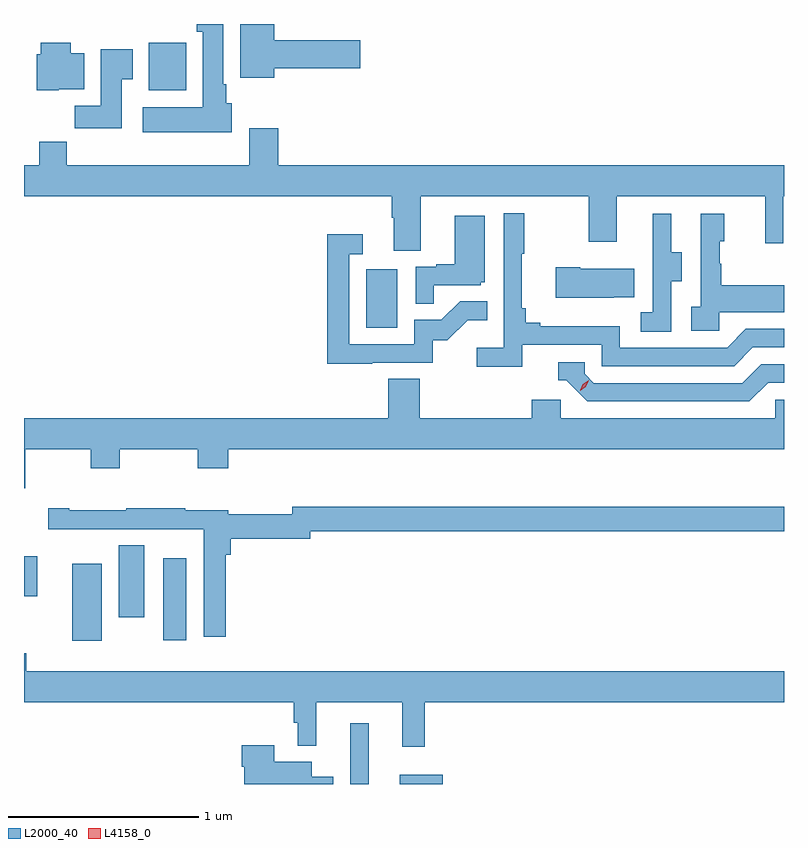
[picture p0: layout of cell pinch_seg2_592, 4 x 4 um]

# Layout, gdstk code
import gdstk
lib = gdstk.Library(unit=1e-6, precision=1e-09)
def R(c, l, rs):  # rectangles x0, y0, x1, y1
    for r in rs: c.add(gdstk.rectangle(r[:2], r[2:], *l))
def P(c, l, *ps):  # polygons
    for p in ps: c.add(gdstk.Polygon(p, *l))
L2000_40 = (2000, 40)
L4158_0 = (4158, 0)

pinch_seg2_592 = lib.new_cell('pinch_seg2_592')
R(pinch_seg2_592, L2000_40, [(1045.911,619.235,1046.008,619.555), (1046.171,619.235,1046.398,619.285), (1044.449,619.989,1044.604,620.395), (1044.926,619.992,1045.048,620.422), (1044.692,620.112,1044.826,620.492), (1044.194,620.222,1044.265,620.434), (1045.994,621.636,1046.158,621.943), (1044.851,622.886,1045.047,623.137)])
P(pinch_seg2_592, L2000_40, [(1045.51,623.003),(1045.963,623.003),(1045.963,623.15),(1045.51,623.15),(1045.51,623.235),(1045.331,623.235),(1045.331,622.952),(1045.51,622.952)],
  [(1045.288,622.818),(1045.258,622.818),(1045.258,622.918),(1045.243,622.918),(1045.243,623.235),(1045.103,623.235),(1045.103,623.195),(1045.136,623.195),(1045.136,622.798),(1044.819,622.798),(1044.819,622.664),(1045.288,622.664)],
  [(1044.378,622.892),(1044.511,622.892),(1044.511,623.08),(1044.439,623.08),(1044.439,623.137),(1044.281,623.137),(1044.281,623.076),(1044.26,623.076),(1044.26,622.886),(1044.378,622.886)],
  [(1044.709,622.945),(1044.766,622.945),(1044.766,623.101),(1044.599,623.101),(1044.599,622.804),(1044.46,622.804),(1044.46,622.686),(1044.709,622.686)],
  [(1046.281,622.328),(1047.166,622.328),(1047.166,622.089),(1047.313,622.089),(1047.313,622.328),(1048.094,622.328),(1048.094,622.08),(1048.191,622.08),(1048.191,622.328),(1048.194,622.328),(1048.194,622.492),(1045.532,622.492),(1045.532,622.687),(1045.379,622.687),(1045.379,622.492),(1044.419,622.492),(1044.419,622.616),(1044.275,622.616),(1044.275,622.492),(1044.194,622.492),(1044.194,622.328),(1046.129,622.328),(1046.129,622.216),(1046.141,622.216),(1046.141,622.042),(1046.281,622.042)],
  [(1046.816,621.546),(1047.234,621.546),(1047.234,621.435),(1047.931,621.435),(1048.03,621.534),(1048.194,621.534),(1048.194,621.63),(1047.993,621.63),(1047.894,621.531),(1047.33,621.531),(1047.33,621.643),(1046.911,621.643),(1046.911,621.662),(1046.834,621.662),(1046.834,621.739),(1046.815,621.739),(1046.815,622.027),(1046.827,622.027),(1046.827,622.24),(1046.718,622.24),(1046.718,621.532),(1046.577,621.532),(1046.577,621.43),(1046.816,621.43)],
  [(1047.852,621.719),(1048.194,621.719),(1048.194,621.859),(1047.865,621.859),(1047.865,621.974),(1047.855,621.974),(1047.855,622.092),(1047.88,622.092),(1047.88,622.237),(1047.756,622.237),(1047.756,621.746),(1047.705,621.746),(1047.705,621.621),(1047.852,621.621)],
  [(1047.6,621.88),(1047.655,621.88),(1047.655,622.035),(1047.601,622.035),(1047.601,622.237),(1047.503,622.237),(1047.503,622.023),(1047.504,622.023),(1047.504,621.719),(1047.441,621.719),(1047.441,621.616),(1047.6,621.616)],
  [(1046.351,621.861),(1046.598,621.861),(1046.598,621.876),(1046.62,621.876),(1046.62,622.225),(1046.462,622.225),(1046.462,621.97),(1046.363,621.97),(1046.363,621.957),(1046.256,621.957),(1046.256,621.763),(1046.351,621.763)],
  [(1046.027,621.453),(1046.346,621.453),(1046.346,621.57),(1046.422,621.57),(1046.529,621.677),(1046.633,621.677),(1046.633,621.776),(1046.489,621.776),(1046.391,621.678),(1046.247,621.678),(1046.247,621.549),(1045.905,621.549),(1045.905,622.023),(1045.978,622.023),(1045.978,622.129),(1045.789,622.129),(1045.789,621.448),(1046.027,621.448)],
  [(1047.299,621.797),(1047.407,621.797),(1047.407,621.946),(1047.121,621.946),(1047.121,621.954),(1046.993,621.954),(1046.993,621.794),(1047.299,621.794)],
  [(1048.111,621.348),(1048.194,621.348),(1048.194,621.444),(1048.074,621.444),(1047.975,621.345),(1047.192,621.345),(1047.144,621.393),(1047.144,621.456),(1047.005,621.456),(1047.005,621.36),(1047.048,621.36),(1047.159,621.249),(1048.012,621.249)],
  [(1044.201,620.996),(1044.544,620.996),(1044.544,620.897),(1044.699,620.897),(1044.699,620.996),(1045.108,620.996),(1045.108,620.897),(1045.268,620.897),(1045.268,620.996),(1048.194,620.996),(1048.194,621.258),(1048.149,621.258),(1048.149,621.16),(1047.018,621.16),(1047.018,621.258),(1046.867,621.258),(1046.867,621.16),(1046.276,621.16),(1046.276,621.368),(1046.111,621.368),(1046.111,621.16),(1044.194,621.16),(1044.194,620.792),(1044.201,620.792)],
  [(1045.256,620.441),(1045.283,620.441),(1045.283,620.527),(1045.701,620.527),(1045.701,620.566),(1048.194,620.566),(1048.194,620.695),(1045.605,620.695),(1045.605,620.656),(1045.27,620.656),(1045.27,620.676),(1045.043,620.676),(1045.043,620.686),(1044.733,620.686),(1044.733,620.676),(1044.433,620.676),(1044.433,620.686),(1044.321,620.686),(1044.321,620.576),(1044.596,620.576),(1044.596,620.577),(1044.93,620.577),(1044.93,620.576),(1045.14,620.576),(1045.14,620.01),(1045.256,620.01)],
  [(1046.303,619.664),(1048.194,619.664),(1048.194,619.828),(1044.206,619.828),(1044.206,619.924),(1044.194,619.924),(1044.194,619.664),(1045.615,619.664),(1045.615,619.557),(1045.635,619.557),(1045.635,619.436),(1045.733,619.436),(1045.733,619.664),(1046.186,619.664),(1046.186,619.431),(1046.303,619.431)],
  [(1045.822,619.273),(1045.708,619.273),(1045.708,619.351),(1045.51,619.351),(1045.51,619.438),(1045.34,619.438),(1045.34,619.325),(1045.352,619.325),(1045.352,619.235),(1045.822,619.235)])
P(pinch_seg2_592, L4158_0, [(1047.121,621.306),(1047.121,621.307),(1047.136,621.34),(1047.167,621.36),(1047.167,621.36),(1047.167,621.36),(1047.151,621.327),(1047.121,621.306)])

lib.write_gds('pinch_seg2_592.gds')
